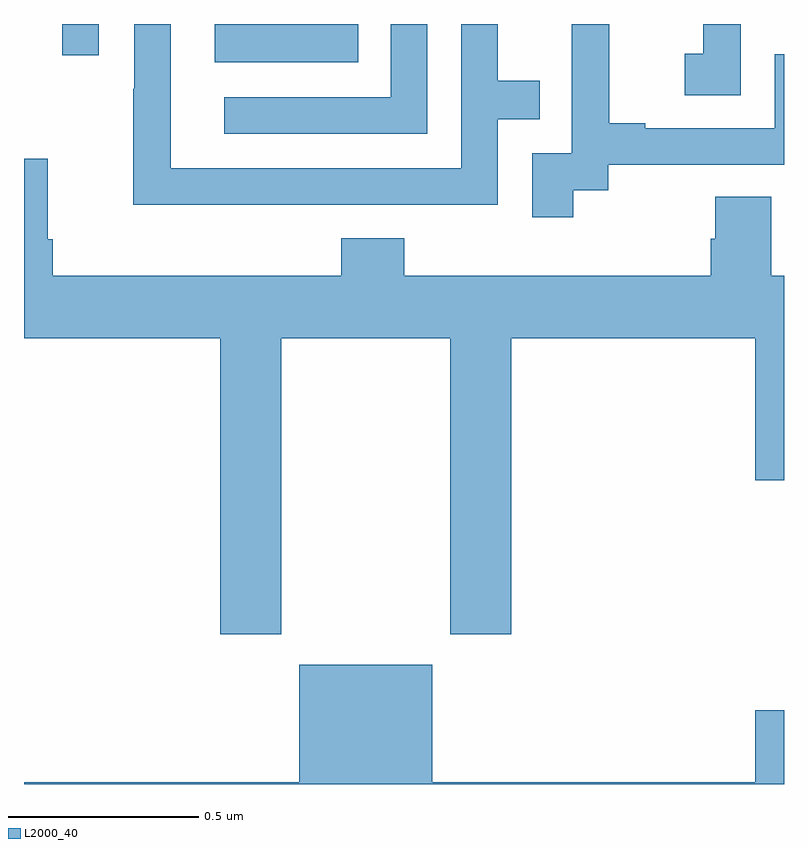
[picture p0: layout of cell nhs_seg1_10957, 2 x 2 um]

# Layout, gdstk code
import gdstk
lib = gdstk.Library(unit=1e-6, precision=1e-09)
def R(c, l, rs):  # rectangles x0, y0, x1, y1
    for r in rs: c.add(gdstk.rectangle(r[:2], r[2:], *l))
def P(c, l, *ps):  # polygons
    for p in ps: c.add(gdstk.Polygon(p, *l))
L2000_40 = (2000, 40)

nhs_seg1_10957 = lib.new_cell('nhs_seg1_10957')
R(nhs_seg1_10957, L2000_40, [(247.502,579.098,247.88,579.199), (247.101,579.117,247.197,579.199)])
P(nhs_seg1_10957, L2000_40, [(248.886,579.199),(248.788,579.199),(248.788,579.121),(248.739,579.121),(248.739,579.012),(248.886,579.012)],
  [(248.446,578.761),(248.538,578.761),(248.538,578.829),(249,578.829),(249,579.12),(248.976,579.12),(248.976,578.925),(248.635,578.925),(248.635,578.938),(248.54,578.938),(248.54,579.199),(248.441,579.199),(248.441,579.089),(248.442,579.089),(248.442,578.859),(248.337,578.859),(248.337,578.691),(248.446,578.691)],
  [(247.751,578.724),(248.247,578.724),(248.247,578.949),(248.357,578.949),(248.357,579.05),(248.247,579.05),(248.247,579.199),(248.151,579.199),(248.151,578.82),(247.386,578.82),(247.386,579.199),(247.29,579.199),(247.29,579.029),(247.288,579.029),(247.288,578.723),(247.751,578.723)],
  [(248.061,579.199),(247.965,579.199),(247.965,579.006),(247.527,579.006),(247.527,578.91),(248.061,578.91)],
  [(247.677,578.372),(248.122,578.372),(248.122,577.593),(248.282,577.593),(248.282,578.372),(248.924,578.372),(248.924,577.998),(249,577.998),(249,578.536),(248.967,578.536),(248.967,578.744),(248.819,578.744),(248.819,578.634),(248.807,578.634),(248.807,578.536),(248,578.536),(248,578.635),(247.835,578.635),(247.835,578.536),(247.076,578.536),(247.076,578.632),(247.063,578.632),(247.063,578.845),(247,578.845),(247,578.372),(247.517,578.372),(247.517,577.593),(247.677,577.593)],
  [(249,577.393),(248.924,577.393),(248.924,577.204),(248.074,577.204),(248.074,577.513),(247.724,577.513),(247.724,577.204),(247,577.204),(247,577.199),(249,577.199)])

lib.write_gds('nhs_seg1_10957.gds')
